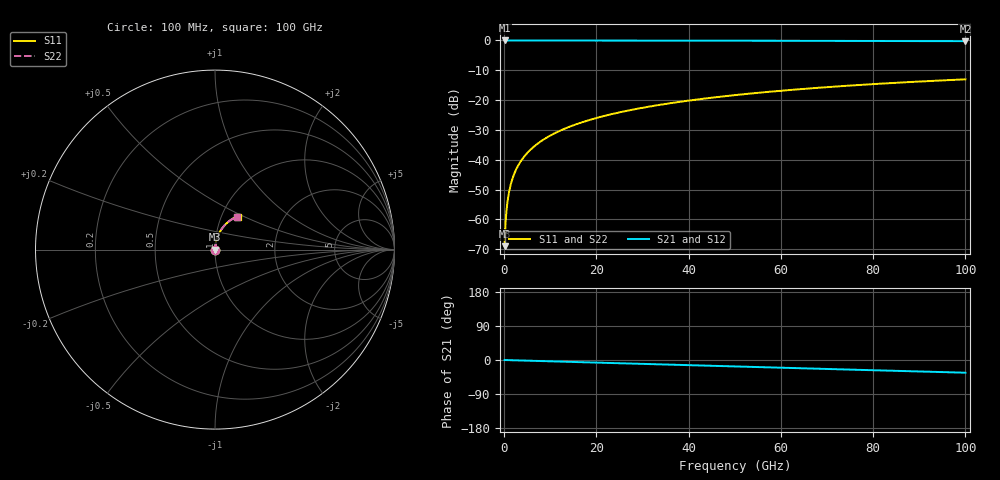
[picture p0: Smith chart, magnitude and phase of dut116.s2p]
! Touchstone file exported from HFSS 2026.1.0
!  File:  C:/ffzhzh/LocalFiles/Ansys_Project_Files/temp_train_TSV_116_1783506032_31944.aedt
!  Generated:  06:21:49 PM Jul  8, 2026
!  Design:  TSV
!  Project:  temp_train_TSV_116_1783506032_31944
! Variables:
!  h_bsmrdl = 2um
!  h_ox = 20um
!  h_rdl = 5um
!  h_sub = 57.45um
!  h_tmrdl = 5um
!  h_tsv = 57.45um
!  h_via = 3um
!  l_bsmrdl = 300um
!  l_sub = 412.16um
!  l_tmrdl = 200um
!  m_sub = 200um
!  pitch = 44.58um
!  r_tsv = 6.08um
!  s_tmrdl = 10um
!  w_bsmrdl = 18um
!  w_sub = 500um
!  w_tmrdl = 12um
!  x_tsv_center1 = 206um
!  x_tsv_center2 = 524um
!  x_tsv_center3 = 736um
!  x_tsv_center4 = 1054um
!  x_tsv_center5 = 1266um
!  x_tsv_center6 = 1584um
# GHz S MA R 50.000000
! Terminal data exported
! Port[1] = TSV1_1_T1
! Port[2] = TSV1_1_T2
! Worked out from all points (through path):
!   1000 points, 100 MHz to 100 GHz, reference 50 ohm
!   highest |S21| = 0.00 dB at 100 MHz (marker M1); lowest = -0.2 dB at 100 GHz (marker M2)
!   group delay of S21, straight-line fit = 931 fs
!   lowest |S11| = -69.0 dB at 100 MHz (marker M3), VSWR 1.00, Z = 50 + j0.0286 ohm
!   |S11| at or under -10 dB: start of sweep to end of sweep
!   |S22| runs from -69.0 to -13.0 dB; largest |S21 - S12| = 5.4e-15
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0.1  0.0003566 53.3  0.9998 -0.0  0.9998 -0.0  0.0003566 53.3
! Gamma 0 0 0 0
! Port Impedance 50 0 50 0
0.4  0.001125 77.3  0.9998 -0.1  0.9998 -0.1  0.001125 77.3
0.7  0.00192 81.8  0.9997 -0.2  0.9997 -0.2  0.00192 81.8
0.8  0.002187 82.5  0.9997 -0.3  0.9997 -0.3  0.002187 82.5
1.1  0.002984 83.8  0.9997 -0.4  0.9997 -0.4  0.002984 83.8
1.4  0.003777 84.5  0.9997 -0.5  0.9997 -0.5  0.003777 84.5
1.9  0.005086 84.9  0.9996 -0.7  0.9996 -0.7  0.005086 84.9
2.4  0.00638 85.1  0.9995 -0.8  0.9995 -0.8  0.00638 85.1
3  0.007916 85.2  0.9995 -1.1  0.9995 -1.1  0.007916 85.2
3.8  0.009944 85.3  0.9994 -1.3  0.9994 -1.3  0.009944 85.3
4.8  0.01246 85.2  0.9993 -1.7  0.9993 -1.7  0.01246 85.2
6  0.01547 85.1  0.9991 -2.1  0.9991 -2.1  0.01547 85.1
8.8  0.02247 84.6  0.9988 -3.0  0.9988 -3.0  0.02247 84.6
12.4  0.03142 83.7  0.9984 -4.3  0.9984 -4.3  0.03142 83.7
16.8  0.04228 82.5  0.9978 -5.8  0.9978 -5.8  0.04228 82.5
24.2  0.06039 80.3  0.9967 -8.3  0.9967 -8.3  0.06039 80.3
33.4  0.08254 77.3  0.9948 -11.4  0.9948 -11.4  0.08254 77.3
41.2  0.1009 74.8  0.9929 -14.1  0.9929 -14.1  0.1009 74.8
50.1  0.1214 71.9  0.9904 -17.1  0.9904 -17.1  0.1214 71.9
66.7  0.158 66.5  0.985 -22.6  0.985 -22.6  0.158 66.5
83.4  0.1921 61.1  0.9786 -28.1  0.9786 -28.1  0.1921 61.1
100  0.223 55.8  0.9719 -33.5  0.9719 -33.5  0.223 55.8
